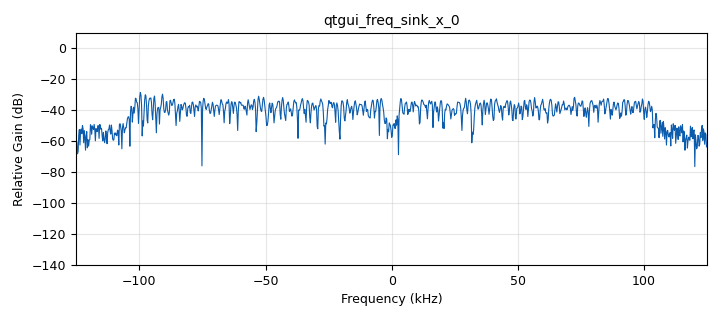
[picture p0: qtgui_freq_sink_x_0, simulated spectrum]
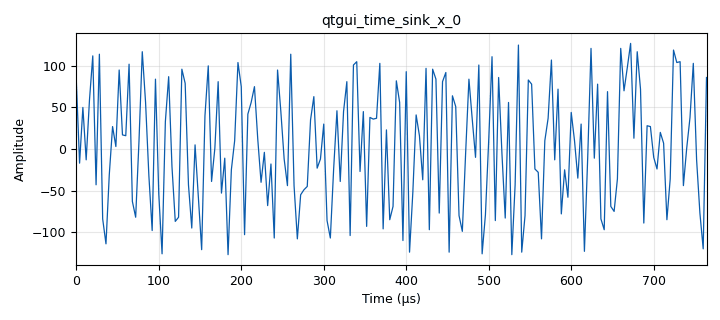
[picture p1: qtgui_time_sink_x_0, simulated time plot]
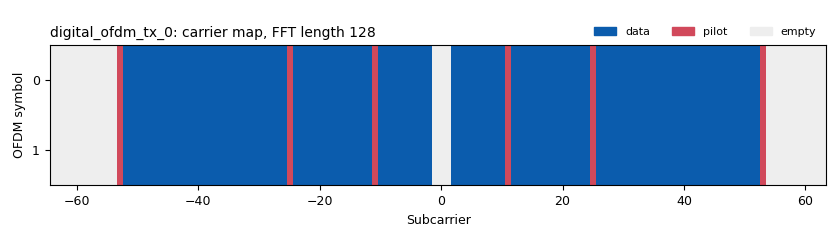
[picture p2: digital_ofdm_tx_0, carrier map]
<?xml version='1.0' encoding='utf-8'?>
<?grc format='1' created='3.7.10'?>
<flow_graph>
<block>
<key>options</key>
<param><key>id</key><value>top_block</value></param>
<param><key>generate_options</key><value>qt_gui</value></param>
</block>
<block>
<key>variable</key>
<param><key>id</key><value>USRP_CENTER_FREQ</value></param>
<param><key>_enabled</key><value>0</value></param>
<param><key>value</key><value>2450000000</value></param>
</block>
<block>
<key>variable</key>
<param><key>id</key><value>USRP_IP</value></param>
<param><key>_enabled</key><value>0</value></param>
<param><key>value</key><value>"serial=12345678"</value></param>
</block>
<block>
<key>variable</key>
<param><key>id</key><value>USRP_IP_0</value></param>
<param><key>_enabled</key><value>0</value></param>
<param><key>value</key><value>"addr=192.168.10.2"</value></param>
</block>
<block>
<key>variable</key>
<param><key>id</key><value>USRP_RX_GAIN</value></param>
<param><key>_enabled</key><value>0</value></param>
<param><key>value</key><value>100</value></param>
</block>
<block>
<key>variable</key>
<param><key>id</key><value>cp_len</value></param>
<param><key>value</key><value>32</value></param>
</block>
<block>
<key>variable</key>
<param><key>id</key><value>fft_len</value></param>
<param><key>value</key><value>128</value></param>
</block>
<block>
<key>variable</key>
<param><key>id</key><value>header_equalizer</value></param>
<param><key>value</key><value>digital.ofdm_equalizer_simpledfe(fft_len, header_mod.base(), occupied_carriers, pilot_carriers, pilot_symbols)</value></param>
</block>
<block>
<key>variable</key>
<param><key>id</key><value>header_formatter</value></param>
<param><key>value</key><value>digital.packet_header_ofdm(occupied_carriers, n_syms=1, len_tag_key=packet_length_tag_key, frame_len_tag_key=length_tag_key, bits_per_header_sym=header_mod.bits_per_symbol(), bits_per_payload_sym=payload_mod.bits_per_symbol(), scramble_header=False)</value></param>
</block>
<block>
<key>variable</key>
<param><key>id</key><value>header_mod</value></param>
<param><key>value</key><value>digital.constellation_bpsk()</value></param>
</block>
<block>
<key>variable</key>
<param><key>id</key><value>length_tag_key</value></param>
<param><key>value</key><value>"frame_len"</value></param>
</block>
<block>
<key>variable</key>
<param><key>id</key><value>occupied_carriers</value></param>
<param><key>value</key><value>(range(-52, -25) + range(-24, -11) + range(-10, -1) + range(2, 11) + range(12, 25) + range(26, 53),)</value></param>
</block>
<block>
<key>variable</key>
<param><key>id</key><value>packet_len</value></param>
<param><key>value</key><value>96</value></param>
</block>
<block>
<key>variable</key>
<param><key>id</key><value>packet_length_tag_key</value></param>
<param><key>value</key><value>"packet_len"</value></param>
</block>
<block>
<key>variable</key>
<param><key>id</key><value>payload_equalizer</value></param>
<param><key>value</key><value>digital.ofdm_equalizer_simpledfe(fft_len, payload_mod.base(), occupied_carriers, pilot_carriers, pilot_symbols, 1)</value></param>
</block>
<block>
<key>variable</key>
<param><key>id</key><value>payload_mod</value></param>
<param><key>value</key><value>digital.constellation_qpsk()</value></param>
</block>
<block>
<key>variable</key>
<param><key>id</key><value>pilot_carriers</value></param>
<param><key>value</key><value>((-53, -25, -11, 11, 25, 53),)</value></param>
</block>
<block>
<key>variable</key>
<param><key>id</key><value>pilot_symbols</value></param>
<param><key>value</key><value>((1, -1, 1, -1, 1, -1),)</value></param>
</block>
<block>
<key>variable</key>
<param><key>id</key><value>samp_rate</value></param>
<param><key>value</key><value>250000</value></param>
</block>
<block>
<key>variable</key>
<param><key>id</key><value>sync_word1</value></param>
<param><key>value</key><value>(0,-1.4142,0,1.4142,0,1.4142,0,-1.4142,0,1.4142,0,-1.4142,0,-1.4142,0,1.4142,0,-1.4142,0,1.4142,0,-1.4142,0,-1.4142,0,-1.4142,0,1.4142,0,-1.4142,0,-1.4142,0,1.4142,0,-1.4142,0,1.4142,0,-1.4142,0,1.4142,0,1.4142,0,-1.4142,0,1.4142,0,-1.4142,0,-1.4142,0,0,0,-1.4142,0,1.4142,0,-1.4142,0,-1.4142,0,-1.4142,0,1.4142,0,1.4142,0,1.4142,0,-1.4142,0,-1.4142,0,1.4142,0,-1.4142,0,1.4142,0,1.4142,0,1.4142,0,-1.4142,0,1.4142,0,-1.4142,0,-1.4142,0,1.4142,0,-1.4142,0,1.4142,0,-1.4142,0,1.4142,0,-1.4142,0,1.4142,0,1.4142,0,-1.4142,0,1.4142,0,1.4142,0,1.4142,0,-1.4142,0,-1.4142,0,1.4142,0,1.4142,0,-1.4142,0,1.4142)</value></param>
</block>
<block>
<key>variable</key>
<param><key>id</key><value>sync_word2</value></param>
<param><key>value</key><value>(1,-1,-1,-1,-1,1,1,1,1,1,1,1,-1,-1,-1,-1,1,1,1,1,1,1,1,1,-1,1,1,-1,1,1,-1,-1,-1,-1,-1,1,1,1,-1,-1,1,-1,-1,-1,1,-1,-1,1,1,1,-1,-1,1,1,1,-1,-1,-1,1,1,1,-1,-1,-1,0,1,1,1,1,-1,-1,1,1,1,-1,-1,-1,-1,1,-1,-1,1,-1,-1,1,1,1,-1,1,1,1,-1,1,-1,-1,1,-1,1,1,1,1,1,1,-1,-1,-1,1,1,1,1,1,-1,1,1,-1,-1,-1,1,1,1,1,-1,-1,1,-1,-1,-1,-1)</value></param>
</block>
<block>
<key>analog_random_source_x</key>
<param><key>id</key><value>analog_random_source_x_0</value></param>
<param><key>max</key><value>255</value></param>
<param><key>min</key><value>0</value></param>
<param><key>num_samps</key><value>1000</value></param>
<param><key>type</key><value>byte</value></param>
<param><key>repeat</key><value>True</value></param>
</block>
<block>
<key>blocks_char_to_float</key>
<param><key>id</key><value>blocks_char_to_float_0</value></param>
<param><key>scale</key><value>1</value></param>
</block>
<block>
<key>blocks_multiply_const_vxx</key>
<param><key>id</key><value>blocks_multiply_const_vxx_0</value></param>
<param><key>const</key><value>0.05</value></param>
<param><key>type</key><value>complex</value></param>
</block>
<block>
<key>blocks_stream_to_tagged_stream</key>
<param><key>id</key><value>blocks_stream_to_tagged_stream_0</value></param>
<param><key>len_tag_key</key><value>packet_length_tag_key</value></param>
<param><key>packet_len</key><value>packet_len</value></param>
<param><key>type</key><value>byte</value></param>
</block>
<block>
<key>blocks_tag_debug</key>
<param><key>id</key><value>blocks_tag_debug_0_0</value></param>
<param><key>type</key><value>byte</value></param>
<param><key>name</key><value>Rx'd Packets</value></param>
</block>
<block>
<key>blocks_throttle</key>
<param><key>id</key><value>blocks_throttle_0_0</value></param>
<param><key>samples_per_second</key><value>samp_rate</value></param>
<param><key>type</key><value>complex</value></param>
</block>
<block>
<key>digital_ofdm_rx</key>
<param><key>id</key><value>digital_ofdm_rx_0_0</value></param>
<param><key>cp_len</key><value>cp_len</value></param>
<param><key>fft_len</key><value>fft_len</value></param>
<param><key>header_mod</key><value>"BPSK"</value></param>
<param><key>occupied_carriers</key><value>occupied_carriers</value></param>
<param><key>packet_len_key</key><value>"length"</value></param>
<param><key>payload_mod</key><value>"QPSK"</value></param>
<param><key>pilot_carriers</key><value>pilot_carriers</value></param>
<param><key>pilot_symbols</key><value>pilot_symbols</value></param>
<param><key>sync_word1</key><value>sync_word1</value></param>
<param><key>sync_word2</key><value>sync_word2</value></param>
</block>
<block>
<key>digital_ofdm_tx</key>
<param><key>id</key><value>digital_ofdm_tx_0</value></param>
<param><key>cp_len</key><value>cp_len</value></param>
<param><key>fft_len</key><value>fft_len</value></param>
<param><key>header_mod</key><value>"BPSK"</value></param>
<param><key>packet_len_key</key><value>packet_length_tag_key</value></param>
<param><key>log</key><value>True</value></param>
<param><key>occupied_carriers</key><value>occupied_carriers</value></param>
<param><key>payload_mod</key><value>"QPSK"</value></param>
<param><key>pilot_carriers</key><value>pilot_carriers</value></param>
<param><key>pilot_symbols</key><value>pilot_symbols</value></param>
<param><key>rolloff</key><value>0</value></param>
<param><key>sync_word1</key><value>sync_word1</value></param>
<param><key>sync_word2</key><value>sync_word2</value></param>
</block>
<block>
<key>import</key>
<param><key>id</key><value>import_1</value></param>
<param><key>import</key><value>from gnuradio.digital.utils import tagged_streams</value></param>
</block>
<block>
<key>qtgui_freq_sink_x</key>
<param><key>id</key><value>qtgui_freq_sink_x_0</value></param>
<param><key>bw</key><value>samp_rate</value></param>
<param><key>fc</key><value>0</value></param>
<param><key>fftsize</key><value>1024</value></param>
<param><key>showports</key><value>True</value></param>
<param><key>type</key><value>complex</value></param>
<param><key>wintype</key><value>firdes.WIN_BLACKMAN_hARRIS</value></param>
</block>
<block>
<key>qtgui_time_sink_x</key>
<param><key>id</key><value>qtgui_time_sink_x_0</value></param>
<param><key>autoscale</key><value>True</value></param>
<param><key>color1</key><value>"blue"</value></param>
<param><key>label1</key><value></value></param>
<param><key>size</key><value>2*packet_len</value></param>
<param><key>srate</key><value>samp_rate</value></param>
<param><key>type</key><value>float</value></param>
</block>
<block>
<key>virtual_sink</key>
<param><key>id</key><value>virtual_sink_0</value></param>
<param><key>stream_id</key><value>Tx Signal</value></param>
</block>
<block>
<key>virtual_source</key>
<param><key>id</key><value>virtual_source_0</value></param>
<param><key>stream_id</key><value>Tx Signal</value></param>
</block>
<connection><source_block_id>analog_random_source_x_0</source_block_id><sink_block_id>blocks_stream_to_tagged_stream_0</sink_block_id><source_key>0</source_key><sink_key>0</sink_key></connection>
<connection><source_block_id>blocks_char_to_float_0</source_block_id><sink_block_id>qtgui_time_sink_x_0</sink_block_id><source_key>0</source_key><sink_key>0</sink_key></connection>
<connection><source_block_id>blocks_multiply_const_vxx_0</source_block_id><sink_block_id>blocks_throttle_0_0</sink_block_id><source_key>0</source_key><sink_key>0</sink_key></connection>
<connection><source_block_id>blocks_stream_to_tagged_stream_0</source_block_id><sink_block_id>digital_ofdm_tx_0</sink_block_id><source_key>0</source_key><sink_key>0</sink_key></connection>
<connection><source_block_id>blocks_throttle_0_0</source_block_id><sink_block_id>qtgui_freq_sink_x_0</sink_block_id><source_key>0</source_key><sink_key>0</sink_key></connection>
<connection><source_block_id>blocks_throttle_0_0</source_block_id><sink_block_id>virtual_sink_0</sink_block_id><source_key>0</source_key><sink_key>0</sink_key></connection>
<connection><source_block_id>digital_ofdm_rx_0_0</source_block_id><sink_block_id>blocks_char_to_float_0</sink_block_id><source_key>0</source_key><sink_key>0</sink_key></connection>
<connection><source_block_id>digital_ofdm_rx_0_0</source_block_id><sink_block_id>blocks_tag_debug_0_0</sink_block_id><source_key>0</source_key><sink_key>0</sink_key></connection>
<connection><source_block_id>digital_ofdm_tx_0</source_block_id><sink_block_id>blocks_multiply_const_vxx_0</sink_block_id><source_key>0</source_key><sink_key>0</sink_key></connection>
<connection><source_block_id>virtual_source_0</source_block_id><sink_block_id>digital_ofdm_rx_0_0</sink_block_id><source_key>0</source_key><sink_key>0</sink_key></connection>
</flow_graph>
